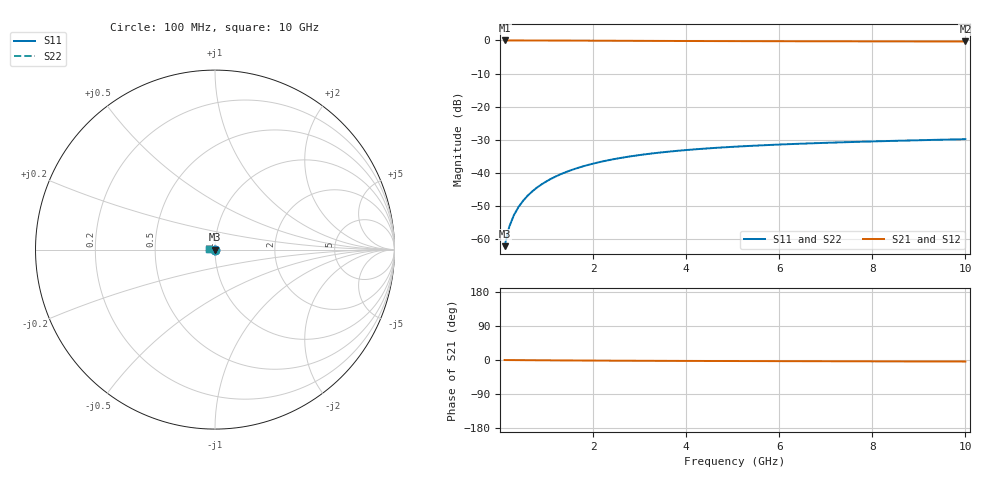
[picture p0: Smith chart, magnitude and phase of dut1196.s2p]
! Touchstone file exported from HFSS 2024.1.0
!  File:  C:/UserFiles/LocalFiles/RDL_TSV_Batchsim/temp_TSV1_1196_1780076073.aedt
!  Generated:  01:39:46 AM May 30, 2026
!  Design:  TSV1
!  Project:  temp_TSV1_1196_1780076073
!  Setup:  Setup1
!  Solution:  Sweep
! Variables:
!  dtsv = 7.74um
!  hbump = 3um
!  htsv = 61.8um
!  lrdl = 252.1521522um
!  p = 40
!  p1 = 42.51um
!  t = 500um
!  trdl = 3um
!  wrdl = 24.89489489um
# GHz S MA R 50.000000
! Terminal data exported
! Port[1] = TSV22_T1
! Port[2] = TSV22_T2
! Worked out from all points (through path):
!   100 points, 100 MHz to 10 GHz, reference 50 ohm
!   highest |S21| = 0.00 dB at 100 MHz (marker M1); lowest = -0.3 dB at 10 GHz (marker M2)
!   lowest |S11| = -62.1 dB at 100 MHz (marker M3), VSWR 1.00, Z = 50 - j0.0765 ohm
!   |S11| at or under -10 dB: start of sweep to end of sweep
!   |S22| runs from -62.1 to -29.8 dB; largest |S21 - S12| = 7.8e-15
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0.1  0.0007873 -76.3  0.9998 -0.1  0.9998 -0.1  0.0007873 -76.3
! Gamma 0 0 0 0
! Port Impedance 50 0 50 0
0.2  0.001549 -85.5  0.9997 -0.2  0.9997 -0.2  0.001549 -85.5
0.3  0.002315 -89.9  0.9996 -0.3  0.9996 -0.3  0.002315 -89.9
0.4  0.003077 -92.9  0.9994 -0.3  0.9994 -0.3  0.003077 -92.9
0.5  0.003834 -95.4  0.9992 -0.4  0.9992 -0.4  0.003834 -95.4
0.6  0.004584 -97.6  0.9989 -0.5  0.9989 -0.5  0.004584 -97.6
0.7  0.005327 -99.7  0.9986 -0.6  0.9986 -0.6  0.005327 -99.7
0.8  0.00606 -101.6  0.9983 -0.7  0.9983 -0.7  0.00606 -101.6
0.9  0.006782 -103.5  0.9979 -0.8  0.9979 -0.8  0.006782 -103.5
1.1  0.008193 -107.1  0.9971 -0.9  0.9971 -0.9  0.008193 -107.1
1.4  0.01021 -112.2  0.9956 -1.1  0.9956 -1.1  0.01021 -112.2
1.6  0.01148 -115.4  0.9945 -1.3  0.9945 -1.3  0.01148 -115.4
1.8  0.01269 -118.5  0.9934 -1.4  0.9934 -1.4  0.01269 -118.5
2.1  0.01439 -122.9  0.9916 -1.6  0.9916 -1.6  0.01439 -122.9
2.5  0.01644 -128.4  0.9892 -1.8  0.9892 -1.8  0.01644 -128.4
2.9  0.01825 -133.4  0.9868 -2.0  0.9868 -2.0  0.01825 -133.4
3.4  0.02021 -139.3  0.984 -2.2  0.984 -2.2  0.02021 -139.3
4.2  0.02279 -147.5  0.98 -2.5  0.98 -2.5  0.02279 -147.5
5.1  0.02506 -155.4  0.9762 -2.8  0.9762 -2.8  0.02506 -155.4
6.7  0.02806 -166.9  0.9714 -3.2  0.9714 -3.2  0.02806 -166.9
8.4  0.03047 -176.8  0.9679 -3.7  0.9679 -3.7  0.03047 -176.8
10  0.03239 175.4  0.9656 -4.1  0.9656 -4.1  0.0324 175.4
